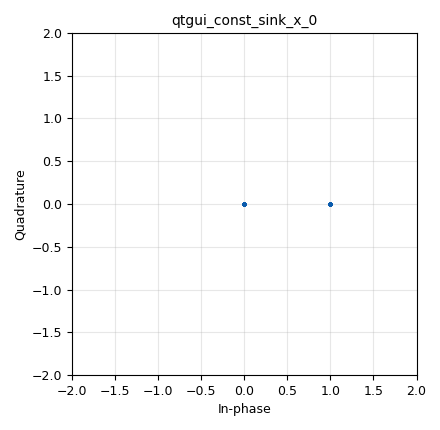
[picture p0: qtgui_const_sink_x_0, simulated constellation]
<?xml version='1.0' encoding='utf-8'?>
<?grc format='1' created='3.7.11'?>
<flow_graph>
<block>
<key>options</key>
<param><key>id</key><value>top_block</value></param>
<param><key>generate_options</key><value>qt_gui</value></param>
</block>
<block>
<key>variable</key>
<param><key>id</key><value>FMCOMMS_LO</value></param>
<param><key>value</key><value>100e6</value></param>
</block>
<block>
<key>variable</key>
<param><key>id</key><value>FMCOMMS_RFband</value></param>
<param><key>value</key><value>samp_rate/2</value></param>
</block>
<block>
<key>variable_constellation</key>
<param><key>id</key><value>OOK</value></param>
<param><key>const_points</key><value>[0+0j, 1+0j]</value></param>
<param><key>type</key><value>calcdist</value></param>
<param><key>dims</key><value>1</value></param>
<param><key>rot_sym</key><value>2</value></param>
<param><key>precision</key><value>8</value></param>
<param><key>sym_map</key><value>[0, 1]</value></param>
</block>
<block>
<key>variable</key>
<param><key>id</key><value>fs</value></param>
<param><key>value</key><value>1000</value></param>
</block>
<block>
<key>variable</key>
<param><key>id</key><value>samp_rate</value></param>
<param><key>value</key><value>1e6</value></param>
</block>
<block>
<key>analog_const_source_x</key>
<param><key>id</key><value>analog_const_source_x_0</value></param>
<param><key>const</key><value>0</value></param>
<param><key>type</key><value>float</value></param>
</block>
<block>
<key>analog_random_source_x</key>
<param><key>id</key><value>analog_random_source_x_0</value></param>
<param><key>max</key><value>2</value></param>
<param><key>min</key><value>0</value></param>
<param><key>num_samps</key><value>1000000</value></param>
<param><key>type</key><value>byte</value></param>
<param><key>repeat</key><value>True</value></param>
</block>
<block>
<key>blocks_char_to_float</key>
<param><key>id</key><value>blocks_char_to_float_0</value></param>
<param><key>scale</key><value>1</value></param>
</block>
<block>
<key>blocks_magphase_to_complex</key>
<param><key>id</key><value>blocks_magphase_to_complex_0</value></param>
</block>
<block>
<key>iio_fmcomms2_sink</key>
<param><key>id</key><value>iio_fmcomms2_sink_0</value></param>
<param><key>buffer_size</key><value>0x8000</value></param>
<param><key>cyclic</key><value>False</value></param>
<param><key>auto_filter</key><value>True</value></param>
<param><key>uri</key><value>uri</value></param>
<param><key>frequency</key><value>FMCOMMS_LO</value></param>
<param><key>rf_port_select</key><value>"A"</value></param>
<param><key>bandwidth</key><value>FMCOMMS_RFband</value></param>
<param><key>samplerate</key><value>samp_rate</value></param>
<param><key>tx1_en</key><value>True</value></param>
<param><key>tx2_en</key><value>False</value></param>
</block>
<block>
<key>qtgui_const_sink_x</key>
<param><key>id</key><value>qtgui_const_sink_x_0</value></param>
<param><key>size</key><value>1024</value></param>
<param><key>type</key><value>complex</value></param>
</block>
<block>
<key>qtgui_freq_sink_x</key>
<param><key>id</key><value>qtgui_freq_sink_x_0</value></param>
<param><key>bw</key><value>samp_rate</value></param>
<param><key>fc</key><value>0</value></param>
<param><key>_enabled</key><value>0</value></param>
<param><key>fftsize</key><value>1024</value></param>
<param><key>showports</key><value>True</value></param>
<param><key>type</key><value>complex</value></param>
<param><key>wintype</key><value>firdes.WIN_BLACKMAN_hARRIS</value></param>
</block>
<block>
<key>parameter</key>
<param><key>id</key><value>uri</value></param>
<param><key>label</key><value>URI</value></param>
<param><key>type</key><value>string</value></param>
<param><key>value</key><value>'ip:192.168.0.41'</value></param>
</block>
<connection><source_block_id>analog_const_source_x_0</source_block_id><sink_block_id>blocks_magphase_to_complex_0</sink_block_id><source_key>0</source_key><sink_key>1</sink_key></connection>
<connection><source_block_id>analog_random_source_x_0</source_block_id><sink_block_id>blocks_char_to_float_0</sink_block_id><source_key>0</source_key><sink_key>0</sink_key></connection>
<connection><source_block_id>blocks_char_to_float_0</source_block_id><sink_block_id>blocks_magphase_to_complex_0</sink_block_id><source_key>0</source_key><sink_key>0</sink_key></connection>
<connection><source_block_id>blocks_magphase_to_complex_0</source_block_id><sink_block_id>iio_fmcomms2_sink_0</sink_block_id><source_key>0</source_key><sink_key>0</sink_key></connection>
<connection><source_block_id>blocks_magphase_to_complex_0</source_block_id><sink_block_id>qtgui_const_sink_x_0</sink_block_id><source_key>0</source_key><sink_key>0</sink_key></connection>
<connection><source_block_id>blocks_magphase_to_complex_0</source_block_id><sink_block_id>qtgui_freq_sink_x_0</sink_block_id><source_key>0</source_key><sink_key>0</sink_key></connection>
</flow_graph>
